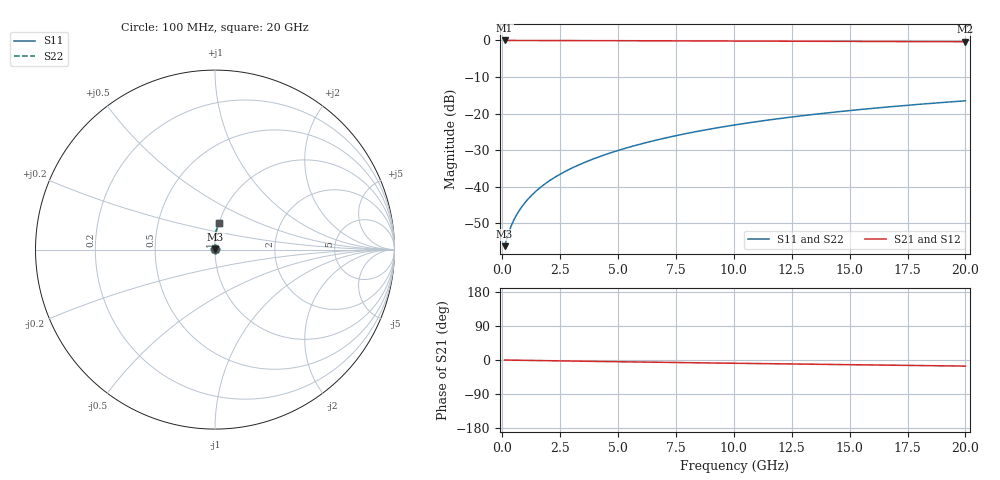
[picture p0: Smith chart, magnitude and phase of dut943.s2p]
! Touchstone file exported from HFSS 2024.1.0
!  File:  C:/UserFiles/LocalFiles/RDL_TSV_Batchsim/temp_RDL_top_943_1779937658.aedt
!  Generated:  11:10:43 AM May 28, 2026
!  Design:  RDL_top
!  Project:  temp_RDL_top_943_1779937658
!  Setup:  Setup1
!  Solution:  Sweep
! Variables:
!  dtsv = 10.80580581um
!  hbump = 3um
!  htsv = 52.98um
!  ldown = 100um
!  lrdl = 227.34um
!  p = 40
!  p1 = 42.53um
!  rhole = 1um
!  t = 450um
!  tdown = 3.915915916um
!  trdl = 2.96um
!  wdown = 15.38538539um
!  wrdl = 24.92um
# GHz S MA R 50.000000
! Terminal data exported
! Port[1] = Box2_T1
! Port[2] = Box2_T2
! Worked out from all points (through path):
!   200 points, 100 MHz to 20 GHz, reference 50 ohm
!   highest |S21| = -0.01 dB at 100 MHz (marker M1); lowest = -0.4 dB at 20 GHz (marker M2)
!   group delay of S21, straight-line fit = 2.2 ps
!   lowest |S11| = -56.2 dB at 100 MHz (marker M3), VSWR 1.00, Z = 50.1 + j0.0692 ohm
!   |S11| at or under -10 dB: start of sweep to end of sweep
!   |S22| runs from -56.2 to -16.5 dB; largest |S21 - S12| = 2.1e-15
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0.1  0.001542 26.6  0.9986 -0.1  0.9986 -0.1  0.001542 26.6
! Gamma 0 0 0 0
! Port Impedance 50 0 50 0
0.3  0.002481 52.4  0.9984 -0.3  0.9984 -0.3  0.002481 52.4
0.4  0.003 58.4  0.9983 -0.4  0.9983 -0.4  0.003 58.4
0.5  0.003521 62.7  0.9983 -0.5  0.9983 -0.5  0.003521 62.7
0.6  0.004042 66.0  0.9982 -0.6  0.9982 -0.6  0.004042 66.1
0.8  0.005097 71.0  0.998 -0.8  0.998 -0.8  0.005097 71.0
1  0.006175 74.7  0.9979 -1.0  0.9979 -1.0  0.006175 74.7
1.2  0.007274 77.4  0.9977 -1.1  0.9977 -1.1  0.007274 77.4
1.7  0.01011 82.0  0.9972 -1.6  0.9972 -1.6  0.01011 82.0
2.2  0.01305 85.0  0.9966 -2.1  0.9966 -2.1  0.01305 85.0
2.8  0.01671 87.3  0.9957 -2.6  0.9957 -2.6  0.01671 87.3
3.5  0.02116 89.2  0.9945 -3.3  0.9945 -3.3  0.02116 89.2
4.2  0.02581 90.4  0.9931 -3.9  0.9931 -3.9  0.02581 90.4
5  0.03135 91.3  0.9914 -4.6  0.9914 -4.6  0.03135 91.3
5.9  0.03784 91.7  0.9893 -5.3  0.9893 -5.3  0.03784 91.7
6.8  0.04456 91.8  0.9871 -6.1  0.9871 -6.1  0.04456 91.8
8.4  0.05693 91.3  0.9833 -7.4  0.9833 -7.4  0.05693 91.3
10.1  0.07045 90.2  0.9793 -8.7  0.9793 -8.7  0.07045 90.2
11.7  0.08334 88.8  0.9758 -9.9  0.9758 -9.9  0.08335 88.9
13.4  0.09707 87.3  0.9721 -11.2  0.9721 -11.2  0.09709 87.3
16.7  0.1236 84.2  0.9654 -13.6  0.9654 -13.6  0.1236 84.2
20  0.1495 81.0  0.959 -16.1  0.959 -16.1  0.1495 81.0
